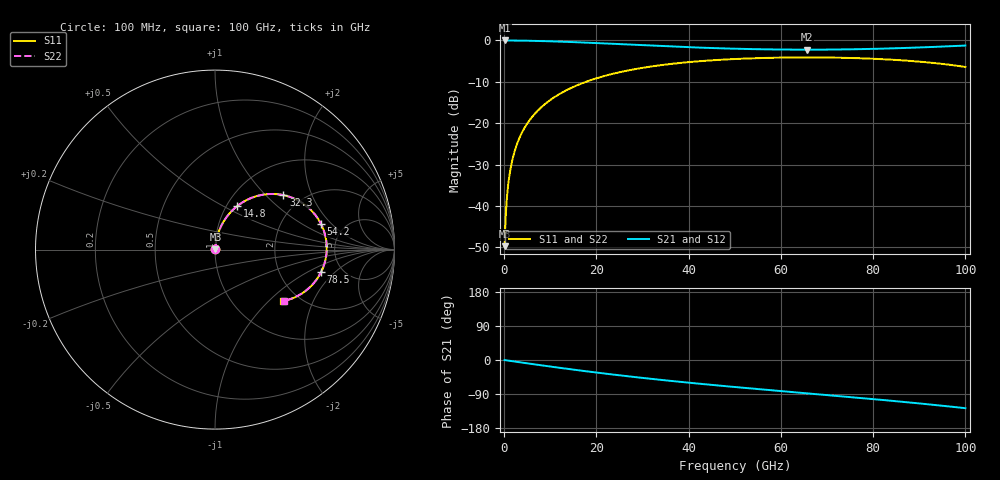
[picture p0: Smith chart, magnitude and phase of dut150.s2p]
! Touchstone file exported from HFSS 2026.1.0
!  File:  C:/ffzhzh/LocalFiles/Ansys_Project_Files/temp_train_RDL_150_1783499903_41296.aedt
!  Generated:  04:39:36 PM Jul  8, 2026
!  Design:  RDL
!  Project:  temp_train_RDL_150_1783499903_41296
! Variables:
!  h_bsmrdl = 2um
!  h_ox = 20um
!  h_rdl = 5um
!  h_sub = 80um
!  h_tmrdl = 4.09um
!  h_tsv = 80um
!  h_via = 3um
!  l_bsmrdl = 300um
!  l_sub = 842.09um
!  l_tmrdl = 442.09um
!  m_sub = 200um
!  pitch = 46.98um
!  r_tsv = 6um
!  s_tmrdl = 10um
!  w_bsmrdl = 18um
!  w_sub = 500um
!  w_tmrdl = 16.16um
!  x_tsv_center1 = 450.17um
!  x_tsv_center2 = 768.17um
!  x_tsv_center3 = 1226.42um
!  x_tsv_center4 = 1544.42um
!  x_tsv_center5 = 2002.67um
!  x_tsv_center6 = 2320.67um
# GHz S MA R 50.000000
! Terminal data exported
! Port[1] = TM_RDL1_1_T1
! Port[2] = TM_RDL1_1_T2
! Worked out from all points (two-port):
!   1000 points, 100 MHz to 100 GHz, reference 50 ohm
!   highest |S21| = -0.02 dB at 100 MHz (marker M1); lowest = -2.2 dB at 65.7 GHz (marker M2)
!   |S21| within 3 dB of the highest: start of sweep to end of sweep
!   lowest |S11| = -49.7 dB at 100 MHz (marker M3), VSWR 1.01, Z = 50.2 + j0.215 ohm
!   |S11| at or under -10 dB: start of sweep to 17.76 GHz
!   |S22| runs from -49.7 to -4.1 dB; largest |S21 - S12| = 1.5e-14
!   S11 on the Smith chart (normalised r, x): 100 MHz: 1.00, +0.00; 14.8 GHz: 1.12, +0.58; 32.3 GHz: 1.61, +1.28; 54.2 GHz: 3.38, +1.51; 78.5 GHz: 3.48, -1.37; 100 GHz: 1.66, -1.23
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0.1  0.003277 40.7  0.9975 -0.2  0.9975 -0.2  0.003277 40.7
! Gamma 0 0 0 0
! Port Impedance 50 0 50 0
0.4  0.008764 71.4  0.9972 -0.7  0.9972 -0.7  0.008764 71.4
0.8  0.01661 78.4  0.9969 -1.4  0.9969 -1.4  0.01661 78.4
1.1  0.02254 80.3  0.9967 -2.0  0.9967 -2.0  0.02254 80.3
1.4  0.02849 81.2  0.9965 -2.5  0.9965 -2.5  0.02849 81.2
2.3  0.04635 81.6  0.9955 -4.1  0.9955 -4.1  0.04635 81.6
3.6  0.07191 80.4  0.9933 -6.4  0.9933 -6.4  0.07191 80.4
5.5  0.1085 77.6  0.989 -9.7  0.989 -9.7  0.1085 77.6
7.9  0.1531 73.9  0.9819 -13.8  0.9819 -13.8  0.1531 73.9
11  0.208 69.0  0.9705 -18.9  0.9705 -18.9  0.208 69.0
14.8  0.271 63.1  0.9538 -25.1  0.9538 -25.1  0.271 63.1
16.8  0.3019 60.0  0.9441 -28.2  0.9441 -28.2  0.3019 60.0
23.8  0.3976 49.9  0.9073 -38.7  0.9073 -38.7  0.3976 49.9
32.3  0.4875 38.5  0.8624 -50.3  0.8624 -50.3  0.4875 38.5
33.4  0.4972 37.1  0.8569 -51.7  0.8569 -51.7  0.4972 37.1
50.1  0.5958 17.7  0.7927 -71.4  0.7927 -71.4  0.5958 17.7
54.2  0.6083 13.4  0.7834 -75.8  0.7834 -75.8  0.6082 13.4
65.7  0.6227 1.4  0.7723 -88.0  0.7723 -88.0  0.6227 1.5
66.7  0.6226 0.4  0.7724 -89.0  0.7724 -89.0  0.6226 0.4
78.5  0.6045 -11.9  0.7861 -101.5  0.7861 -101.5  0.6044 -11.9
83.4  0.5872 -17.2  0.7985 -106.9  0.7985 -106.9  0.5872 -17.2
100  0.4773 -36.9  0.8655 -127.2  0.8655 -127.2  0.4773 -36.8
